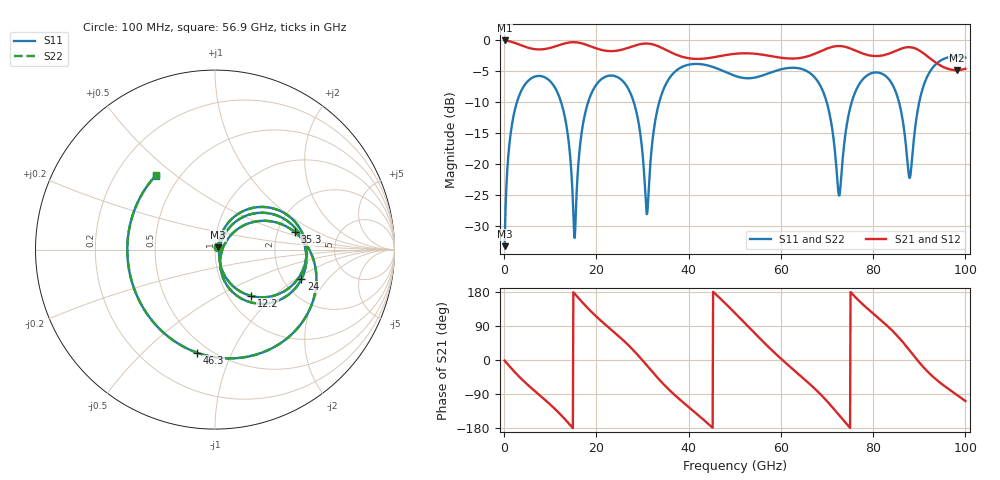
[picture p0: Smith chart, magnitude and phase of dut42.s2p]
! Touchstone file exported from HFSS 2026.1.0
!  File:  C:/ffzhzh/LocalFiles/Ansys_Project_Files/temp_train_TSV_RDL_42_1783443482_50928.aedt
!  Generated:  01:21:47 AM Jul  8, 2026
!  Design:  TSV_RDL
!  Project:  temp_train_TSV_RDL_42_1783443482_50928
! Variables:
!  h_bsmrdl = 3.98um
!  h_ox = 20um
!  h_rdl = 5um
!  h_sub = 53.01um
!  h_tmrdl = 4.44um
!  h_tsv = 53.01um
!  h_via = 3um
!  l_bsmrdl = 606.76um
!  l_sub = 4335.9um
!  l_tmrdl = 494.75um
!  m_sub = 200um
!  pitch = 46.49um
!  r_tsv = 7.65um
!  s_tmrdl = 10um
!  w_bsmrdl = 16.58um
!  w_sub = 500um
!  w_tmrdl = 28.96um
!  x_tsv_center1 = 509.23um
!  x_tsv_center2 = 1132.57um
!  x_tsv_center3 = 1656.28um
!  x_tsv_center4 = 2279.62um
!  x_tsv_center5 = 2803.33um
!  x_tsv_center6 = 3426.67um
# GHz S MA R 50.000000
! Terminal data exported
! Port[1] = TM_RDL1_1_T1
! Port[2] = TM_RDL5_1_T1
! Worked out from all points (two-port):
!   1000 points, 100 MHz to 100 GHz, reference 50 ohm
!   highest |S21| = -0.15 dB at 100 MHz (marker M1); lowest = -4.9 dB at 98.1 GHz (marker M2)
!   |S21| within 3 dB of the highest: start of sweep to 92.56 GHz
!   lowest |S11| = -33.2 dB at 100 MHz (marker M3), VSWR 1.04, Z = 51.7 + j1.41 ohm
!   |S11| at or under -10 dB: 12.32 GHz to 18.23 GHz (5.911 GHz wide, 38.7 % of centre); 28.08 GHz to 33.65 GHz (5.567 GHz wide, 18 % of centre); 69.91 GHz to 75.38 GHz (5.47 GHz wide, 7.53 % of centre) (the widest 3 of 5)
!   |S22| runs from -33.2 to -2.7 dB; largest |S21 - S12| = 3.5e-12
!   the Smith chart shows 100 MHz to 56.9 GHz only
!   S11 on the Smith chart (normalised r, x): 100 MHz: 1.03, +0.03; 12.2 GHz: 1.27, -0.73; 24 GHz: 2.51, -1.11; 35.3 GHz: 2.49, +0.62; 46.3 GHz: 0.43, -0.75; 56.9 GHz: 0.37, +0.42
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0.1  0.0219 38.5  0.9831 -1.5  0.9831 -1.5  0.0219 38.5
! Gamma 0 0 0 0
! Port Impedance 50 0 50 0
1.4  0.1747 63.2  0.9633 -19.8  0.9633 -19.8  0.1747 63.2
3.6  0.3795 38.2  0.9003 -48.1  0.9003 -48.1  0.3795 38.2
12.2  0.3265 -52.2  0.9089 -143.6  0.9089 -143.6  0.3265 -52.2
15.2  0.02645 -23.3  0.9521 176.2  0.9521 176.2  0.02659 -23.1
16.8  0.1785 54.8  0.9326 154.2  0.9326 154.2  0.1785 54.8
24  0.5088 -18.8  0.8098 71.8  0.8098 71.8  0.5088 -18.8
28.4  0.2879 -64.2  0.896 20.8  0.896 20.8  0.2879 -64.3
30.9  0.03962 -23.8  0.9289 -13.7  0.9289 -13.7  0.03932 -23.9
33.4  0.2915 33.1  0.8829 -48.8  0.8829 -48.8  0.2914 33.1
35.3  0.4553 12.5  0.8177 -73.0  0.8177 -73.0  0.4552 12.5
46.3  0.5829 -99.9  0.7305 168.7  0.7305 168.7  0.5829 -100.0
50.1  0.5101 -145.1  0.7687 123.2  0.7687 123.2  0.5101 -145.2
56.9  0.5283 128.7  0.7465 39.2  0.7465 39.2  0.5283 128.6
66.7  0.5235 23.9  0.7521 -68.3  0.7521 -68.3  0.5235 23.7
72.6  0.05576 29.4  0.8871 -145.5  0.8871 -145.5  0.05451 29.2
74.3  0.2085 85.0  0.8665 -169.7  0.8665 -169.7  0.208 85.3
83.4  0.4802 -0.7  0.7703 86.2  0.7703 86.2  0.48 -0.8
87.8  0.0791 12.1  0.8684 26.9  0.8684 26.9  0.07776 11.9
89.2  0.2084 72.6  0.8463 5.4  0.8463 5.4  0.208 73.0
98.1  0.7318 -2.6  0.5675 -91.7  0.5675 -91.7  0.7317 -2.5
100  0.7155 -17.1  0.583 -108.2  0.583 -108.2  0.7154 -17.0
